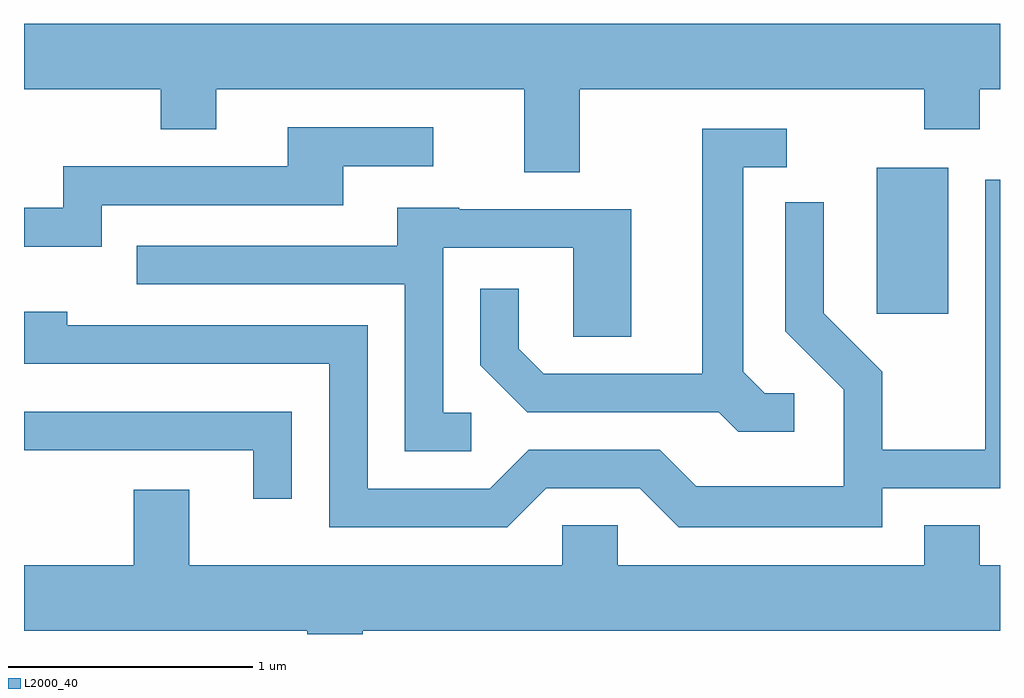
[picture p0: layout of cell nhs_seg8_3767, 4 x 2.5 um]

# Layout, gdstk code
import gdstk
lib = gdstk.Library(unit=1e-6, precision=1e-09)
def R(c, l, rs):  # rectangles x0, y0, x1, y1
    for r in rs: c.add(gdstk.rectangle(r[:2], r[2:], *l))
def P(c, l, *ps):  # polygons
    for p in ps: c.add(gdstk.Polygon(p, *l))
L2000_40 = (2000, 40)

nhs_seg8_3767 = lib.new_cell('nhs_seg8_3767')
R(nhs_seg8_3767, L2000_40, [(301.106,1897.656,301.399,1898.254)])
P(nhs_seg8_3767, L2000_40, [(299.889,1898.576),(301.301,1898.576),(301.301,1898.411),(301.529,1898.411),(301.529,1898.576),(301.611,1898.576),(301.611,1898.844),(297.611,1898.844),(297.611,1898.576),(298.171,1898.576),(298.171,1898.411),(298.399,1898.411),(298.399,1898.576),(299.661,1898.576),(299.661,1898.236),(299.889,1898.236)],
  [(297.929,1898.101),(298.919,1898.101),(298.919,1898.261),(299.288,1898.261),(299.288,1898.419),(298.691,1898.419),(298.691,1898.259),(297.771,1898.259),(297.771,1898.089),(297.611,1898.089),(297.611,1897.931),(297.929,1897.931)],
  [(300.768,1897.329),(300.647,1897.329),(300.559,1897.417),(300.559,1898.256),(300.738,1898.256),(300.738,1898.414),(300.391,1898.414),(300.391,1897.409),(299.742,1897.409),(299.639,1897.512),(299.639,1897.758),(299.481,1897.758),(299.481,1897.444),(299.674,1897.251),(300.459,1897.251),(300.539,1897.171),(300.768,1897.171)],
  [(299.752,1896.941),(300.134,1896.941),(300.294,1896.781),(301.129,1896.781),(301.129,1896.941),(301.611,1896.941),(301.611,1898.204),(301.551,1898.204),(301.551,1897.099),(301.129,1897.099),(301.129,1897.417),(300.889,1897.657),(300.889,1898.113),(300.731,1898.113),(300.731,1897.584),(300.971,1897.344),(300.971,1896.949),(300.367,1896.949),(300.217,1897.099),(299.679,1897.099),(299.519,1896.939),(299.019,1896.939),(299.019,1897.609),(297.789,1897.609),(297.789,1897.664),(297.611,1897.664),(297.611,1897.451),(298.861,1897.451),(298.861,1896.781),(299.592,1896.781)],
  [(299.443,1897.249),(299.329,1897.249),(299.329,1897.926),(299.861,1897.926),(299.861,1897.561),(300.099,1897.561),(300.099,1898.084),(299.395,1898.084),(299.395,1898.089),(299.141,1898.089),(299.141,1897.934),(298.073,1897.934),(298.073,1897.776),(299.171,1897.776),(299.171,1897.091),(299.443,1897.091)],
  [(298.709,1897.254),(297.611,1897.254),(297.611,1897.096),(298.551,1897.096),(298.551,1896.898),(298.709,1896.898)],
  [(298.999,1896.356),(301.611,1896.356),(301.611,1896.624),(301.529,1896.624),(301.529,1896.789),(301.301,1896.789),(301.301,1896.624),(300.044,1896.624),(300.044,1896.789),(299.816,1896.789),(299.816,1896.624),(298.289,1896.624),(298.289,1896.934),(298.061,1896.934),(298.061,1896.624),(297.611,1896.624),(297.611,1896.356),(298.771,1896.356),(298.771,1896.342),(298.999,1896.342)])

lib.write_gds('nhs_seg8_3767.gds')
